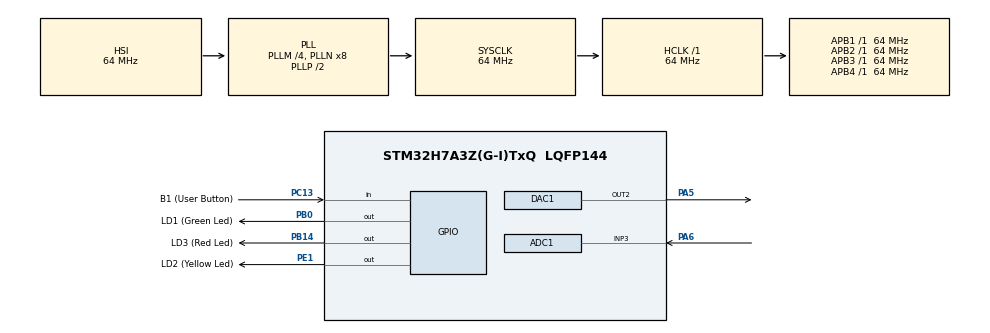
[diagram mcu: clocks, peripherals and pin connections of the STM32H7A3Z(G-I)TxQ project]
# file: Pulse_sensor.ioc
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ADC1.Channel-0\#ChannelRegularConversion=ADC_CHANNEL_3
ADC1.ClockPrescaler=ADC_CLOCK_ASYNC_DIV256
ADC1.ContinuousConvMode=ENABLE
ADC1.ConversionDataManagement=ADC_CONVERSIONDATA_DMA_CIRCULAR
ADC1.NbrOfConversionFlag=1
ADC1.OffsetNumber-0\#ChannelRegularConversion=ADC_OFFSET_NONE
ADC1.OffsetSignedSaturation-0\#ChannelRegularConversion=DISABLE
ADC1.Rank-0\#ChannelRegularConversion=1
ADC1.Resolution=ADC_RESOLUTION_12B
ADC1.SamplingTime-0\#ChannelRegularConversion=ADC_SAMPLETIME_1CYCLE_5
ADC1.master=1
CORTEX_M7.default_mode_Activation=1
DAC1.DAC_Channel-DAC_OUT2=DAC_CHANNEL_2
Dma.ADC1.0.Direction=DMA_PERIPH_TO_MEMORY
Dma.ADC1.0.EventEnable=DISABLE
Dma.ADC1.0.FIFOMode=DMA_FIFOMODE_DISABLE
Dma.ADC1.0.Instance=DMA1_Stream0
Dma.ADC1.0.MemDataAlignment=DMA_MDATAALIGN_HALFWORD
Dma.ADC1.0.MemInc=DMA_MINC_ENABLE
Dma.ADC1.0.Mode=DMA_CIRCULAR
Dma.ADC1.0.PeriphDataAlignment=DMA_PDATAALIGN_HALFWORD
Dma.ADC1.0.PeriphInc=DMA_PINC_DISABLE
Dma.ADC1.0.Polarity=HAL_DMAMUX_REQ_GEN_RISING
Dma.ADC1.0.Priority=DMA_PRIORITY_HIGH
Dma.ADC1.0.RequestNumber=1
Dma.ADC1.0.SignalID=NONE
Dma.ADC1.0.SyncEnable=DISABLE
Dma.ADC1.0.SyncPolarity=HAL_DMAMUX_SYNC_NO_EVENT
Dma.ADC1.0.SyncRequestNumber=1
Dma.ADC1.0.SyncSignalID=NONE
Dma.DAC1_CH2.1.Direction=DMA_MEMORY_TO_PERIPH
Dma.DAC1_CH2.1.EventEnable=DISABLE
Dma.DAC1_CH2.1.FIFOMode=DMA_FIFOMODE_DISABLE
Dma.DAC1_CH2.1.Instance=DMA1_Stream1
Dma.DAC1_CH2.1.MemDataAlignment=DMA_MDATAALIGN_BYTE
Dma.DAC1_CH2.1.MemInc=DMA_MINC_ENABLE
Dma.DAC1_CH2.1.Mode=DMA_CIRCULAR
Dma.DAC1_CH2.1.PeriphDataAlignment=DMA_PDATAALIGN_BYTE
Dma.DAC1_CH2.1.PeriphInc=DMA_PINC_DISABLE
Dma.DAC1_CH2.1.Polarity=HAL_DMAMUX_REQ_GEN_RISING
Dma.DAC1_CH2.1.Priority=DMA_PRIORITY_HIGH
Dma.DAC1_CH2.1.RequestNumber=1
Dma.DAC1_CH2.1.SignalID=NONE
Dma.DAC1_CH2.1.SyncEnable=DISABLE
Dma.DAC1_CH2.1.SyncPolarity=HAL_DMAMUX_SYNC_NO_EVENT
Dma.DAC1_CH2.1.SyncRequestNumber=1
Dma.DAC1_CH2.1.SyncSignalID=NONE
Dma.Request0=ADC1
Dma.Request1=DAC1_CH2
Mcu.Family=STM32H7
Mcu.Name=STM32H7A3Z(G-I)TxQ
Mcu.Package=LQFP144
NVIC.DMA1_Stream0_IRQn=true\:0\:0\:false\:false\:true\:false\:true\:true
NVIC.DMA1_Stream1_IRQn=true\:0\:0\:false\:false\:true\:false\:true\:true
NVIC.PriorityGroup=NVIC_PRIORITYGROUP_4
PA5.Signal=COMP_DAC12_group
PA6.Signal=ADCx_INP3
PB0.GPIO_Label=LD1 (Green Led)
PB0.Signal=GPIO_Output
PB14.GPIO_Label=LD3 (Red Led)
PB14.Signal=GPIO_Output
PC13.GPIO_Label=B1 (User Button)
PC13.Signal=GPIO_Input
PC14-OSC32_IN.GPIO_Label=OSC32_IN
PC14-OSC32_IN.Signal=RCC_OSC32_IN
PC15-OSC32_OUT.GPIO_Label=OSC32_OUT
PC15-OSC32_OUT.Signal=RCC_OSC32_OUT
PD8.GPIO_Label=STLINK_RX
PD8.Signal=USART3_TX
PD9.GPIO_Label=STLINK_TX
PD9.Signal=USART3_RX
PE1.GPIO_Label=LD2 (Yellow Led)
PE1.Signal=GPIO_Output
PH0-OSC_IN.GPIO_Label=PH0-MCU
PH0-OSC_IN.Signal=RCC_OSC_IN
PH1-OSC_OUT.GPIO_Label=PH1-MCU
PH1-OSC_OUT.Signal=RCC_OSC_OUT
ProjectManager.HeapSize=0x200
ProjectManager.StackSize=0x400
ProjectManager.TargetToolchain=STM32CubeIDE
RCC.ADCFreq_Value=42666666.666666664
RCC.APB1Freq_Value=64000000
RCC.APB2Freq_Value=64000000
RCC.APB3Freq_Value=64000000
RCC.APB4Freq_Value=64000000
RCC.CortexFreq_Value=64000000
RCC.DIVM1=4
RCC.DIVM2=4
RCC.DIVM3=1
RCC.DIVN1=8
RCC.DIVN2=8
RCC.DIVN3=24
RCC.DIVP2=3
RCC.DIVQ1=4
RCC.HCLKFreq_Value=64000000
RCC.HSE_VALUE=8000000
RCC.PLL2FRACN=0
RCC.PLLFRACN=0
RCC.PWR_Regulator_Voltage_Scale=PWR_REGULATOR_VOLTAGE_SCALE0
RCC.SYSCLKFreq_VALUE=64000000
RCC.SYSCLKSource=RCC_SYSCLKSOURCE_PLLCLK
RCC.SupplySource=PWR_DIRECT_SMPS_SUPPLY
RCC.USBCLockSelection=RCC_USBCLKSOURCE_HSI48
RCC.USBFreq_Value=48000000
SH.ADCx_INP3.0=ADC1_INP3,IN3-Single-Ended
SH.COMP_DAC12_group.0=DAC1_OUT2,DAC_OUT2
VP_MEMORYMAP_VS_MEMORYMAP.Mode=CurAppReg
board=NUCLEO-H7A3ZI-Q

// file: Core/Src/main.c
/* USER CODE BEGIN Header */
/**
  ******************************************************************************
  * @file           : main.c
  * @brief          : Main program body
  ******************************************************************************
  * @attention
  *
  * Copyright (c) 2026 STMicroelectronics.
  * All rights reserved.
  *
  * This software is licensed under terms that can be found in the LICENSE file
  * in the root directory of this software component.
  * If no LICENSE file comes with this software, it is provided AS-IS.
  *
  ******************************************************************************
  */
/* USER CODE END Header */
#include "main.h"

ADC_HandleTypeDef hadc1;
DMA_HandleTypeDef hdma_adc1;

DAC_HandleTypeDef hdac1;
DMA_HandleTypeDef hdma_dac1_ch2;

/* USER CODE BEGIN PV */
#define RESOLUTION 4095
#define V_REF 5

uint32_t ADC_VALUE;
uint32_t DAC_VALUE;

double pulse;
/* USER CODE END PV */

void SystemClock_Config(void);
static void MPU_Config(void);
static void MX_GPIO_Init(void);
static void MX_DMA_Init(void);
static void MX_ADC1_Init(void);
static void MX_DAC1_Init(void);
/* USER CODE BEGIN PFP */
void pulse_sensor(void);
/* USER CODE END PFP */

int main(void)
{

  /* MPU Configuration--------------------------------------------------------*/
  MPU_Config();

  /* MCU Configuration--------------------------------------------------------*/

  /* Reset of all peripherals, Initializes the Flash interface and the Systick. */
  HAL_Init();

  /* Configure the system clock */
  SystemClock_Config();

  /* Initialize all configured peripherals */
  MX_GPIO_Init();
  MX_DMA_Init();
  MX_ADC1_Init();
  MX_DAC1_Init();
  /* USER CODE BEGIN 2 */
  HAL_DAC_Start(&hdac1,DAC_CHANNEL_2);
  HAL_ADCEx_Calibration_Start(&hadc1, ADC_CALIB_OFFSET_LINEARITY, ADC_SINGLE_ENDED);
  HAL_ADC_Start_DMA(&hadc1,(uint32_t*)&ADC_VALUE,1);
  /* USER CODE END 2 */

  /* Infinite loop */
  while (1)
  {
	  pulse_sensor();
  }
}

void SystemClock_Config(void)
{
  RCC_OscInitTypeDef RCC_OscInitStruct = {0};
  RCC_ClkInitTypeDef RCC_ClkInitStruct = {0};

  /*AXI clock gating */
  RCC->CKGAENR = 0xE003FFFF;

  /** Supply configuration update enable
  */
  HAL_PWREx_ConfigSupply(PWR_DIRECT_SMPS_SUPPLY);

  /** Configure the main internal regulator output voltage
  */
  __HAL_PWR_VOLTAGESCALING_CONFIG(PWR_REGULATOR_VOLTAGE_SCALE0);

  while(!__HAL_PWR_GET_FLAG(PWR_FLAG_VOSRDY)) {}

  /** Initializes the RCC Oscillators according to the specified parameters
  * in the RCC_OscInitTypeDef structure.
  */
  RCC_OscInitStruct.OscillatorType = RCC_OSCILLATORTYPE_HSI|RCC_OSCILLATORTYPE_LSI;
  RCC_OscInitStruct.HSIState = RCC_HSI_DIV1;
  RCC_OscInitStruct.HSICalibrationValue = 64;
  RCC_OscInitStruct.LSIState = RCC_LSI_ON;
  RCC_OscInitStruct.PLL.PLLState = RCC_PLL_ON;
  RCC_OscInitStruct.PLL.PLLSource = RCC_PLLSOURCE_HSI;
  RCC_OscInitStruct.PLL.PLLM = 4;
  RCC_OscInitStruct.PLL.PLLN = 8;
  RCC_OscInitStruct.PLL.PLLP = 2;
  RCC_OscInitStruct.PLL.PLLQ = 4;
  RCC_OscInitStruct.PLL.PLLR = 2;
  RCC_OscInitStruct.PLL.PLLRGE = RCC_PLL1VCIRANGE_3;
  RCC_OscInitStruct.PLL.PLLVCOSEL = RCC_PLL1VCOWIDE;
  RCC_OscInitStruct.PLL.PLLFRACN = 0;
  if (HAL_RCC_OscConfig(&RCC_OscInitStruct) != HAL_OK)
  {
    Error_Handler();
  }

  /** Initializes the CPU, AHB and APB buses clocks
  */
  RCC_ClkInitStruct.ClockType = RCC_CLOCKTYPE_HCLK|RCC_CLOCKTYPE_SYSCLK
                              |RCC_CLOCKTYPE_PCLK1|RCC_CLOCKTYPE_PCLK2
                              |RCC_CLOCKTYPE_D3PCLK1|RCC_CLOCKTYPE_D1PCLK1;
  RCC_ClkInitStruct.SYSCLKSource = RCC_SYSCLKSOURCE_PLLCLK;
  RCC_ClkInitStruct.SYSCLKDivider = RCC_SYSCLK_DIV1;
  RCC_ClkInitStruct.AHBCLKDivider = RCC_HCLK_DIV1;
  RCC_ClkInitStruct.APB3CLKDivider = RCC_APB3_DIV1;
  RCC_ClkInitStruct.APB1CLKDivider = RCC_APB1_DIV1;
  RCC_ClkInitStruct.APB2CLKDivider = RCC_APB2_DIV1;
  RCC_ClkInitStruct.APB4CLKDivider = RCC_APB4_DIV1;

  if (HAL_RCC_ClockConfig(&RCC_ClkInitStruct, FLASH_LATENCY_1) != HAL_OK)
  {
    Error_Handler();
  }
}

static void MX_ADC1_Init(void)
{

  ADC_MultiModeTypeDef multimode = {0};
  ADC_ChannelConfTypeDef sConfig = {0};

  /** Common config
  */
  hadc1.Instance = ADC1;
  hadc1.Init.ClockPrescaler = ADC_CLOCK_ASYNC_DIV256;
  hadc1.Init.Resolution = ADC_RESOLUTION_12B;
  hadc1.Init.ScanConvMode = ADC_SCAN_DISABLE;
  hadc1.Init.EOCSelection = ADC_EOC_SINGLE_CONV;
  hadc1.Init.LowPowerAutoWait = DISABLE;
  hadc1.Init.ContinuousConvMode = ENABLE;
  hadc1.Init.NbrOfConversion = 1;
  hadc1.Init.DiscontinuousConvMode = DISABLE;
  hadc1.Init.ExternalTrigConv = ADC_SOFTWARE_START;
  hadc1.Init.ExternalTrigConvEdge = ADC_EXTERNALTRIGCONVEDGE_NONE;
  hadc1.Init.ConversionDataManagement = ADC_CONVERSIONDATA_DMA_CIRCULAR;
  hadc1.Init.Overrun = ADC_OVR_DATA_PRESERVED;
  hadc1.Init.LeftBitShift = ADC_LEFTBITSHIFT_NONE;
  hadc1.Init.OversamplingMode = DISABLE;
  if (HAL_ADC_Init(&hadc1) != HAL_OK)
  {
    Error_Handler();
  }

  /** Configure the ADC multi-mode
  */
  multimode.Mode = ADC_MODE_INDEPENDENT;
  if (HAL_ADCEx_MultiModeConfigChannel(&hadc1, &multimode) != HAL_OK)
  {
    Error_Handler();
  }

  /** Configure Regular Channel
  */
  sConfig.Channel = ADC_CHANNEL_3;
  sConfig.Rank = ADC_REGULAR_RANK_1;
  sConfig.SamplingTime = ADC_SAMPLETIME_1CYCLE_5;
  sConfig.SingleDiff = ADC_SINGLE_ENDED;
  sConfig.OffsetNumber = ADC_OFFSET_NONE;
  sConfig.Offset = 0;
  sConfig.OffsetSignedSaturation = DISABLE;
  if (HAL_ADC_ConfigChannel(&hadc1, &sConfig) != HAL_OK)
  {
    Error_Handler();
  }

}

static void MX_DAC1_Init(void)
{

  DAC_ChannelConfTypeDef sConfig = {0};

  /** DAC Initialization
  */
  hdac1.Instance = DAC1;
  if (HAL_DAC_Init(&hdac1) != HAL_OK)
  {
    Error_Handler();
  }

  /** DAC channel OUT2 config
  */
  sConfig.DAC_SampleAndHold = DAC_SAMPLEANDHOLD_DISABLE;
  sConfig.DAC_Trigger = DAC_TRIGGER_NONE;
  sConfig.DAC_OutputBuffer = DAC_OUTPUTBUFFER_ENABLE;
  sConfig.DAC_ConnectOnChipPeripheral = DAC_CHIPCONNECT_DISABLE;
  sConfig.DAC_UserTrimming = DAC_TRIMMING_FACTORY;
  if (HAL_DAC_ConfigChannel(&hdac1, &sConfig, DAC_CHANNEL_2) != HAL_OK)
  {
    Error_Handler();
  }

}

static void MX_DMA_Init(void)
{

  /* DMA controller clock enable */
  __HAL_RCC_DMA1_CLK_ENABLE();

  /* DMA interrupt init */
  /* DMA1_Stream0_IRQn interrupt configuration */
  HAL_NVIC_SetPriority(DMA1_Stream0_IRQn, 0, 0);
  HAL_NVIC_EnableIRQ(DMA1_Stream0_IRQn);
  /* DMA1_Stream1_IRQn interrupt configuration */
  HAL_NVIC_SetPriority(DMA1_Stream1_IRQn, 0, 0);
  HAL_NVIC_EnableIRQ(DMA1_Stream1_IRQn);

}

static void MX_GPIO_Init(void)
{
  GPIO_InitTypeDef GPIO_InitStruct = {0};

  /* GPIO Ports Clock Enable */
  __HAL_RCC_GPIOC_CLK_ENABLE();
  __HAL_RCC_GPIOH_CLK_ENABLE();
  __HAL_RCC_GPIOA_CLK_ENABLE();
  __HAL_RCC_GPIOB_CLK_ENABLE();
  __HAL_RCC_GPIOD_CLK_ENABLE();
  __HAL_RCC_GPIOE_CLK_ENABLE();

  /*Configure GPIO pin Output Level */
  HAL_GPIO_WritePin(GPIOB, LD1_Pin|LD3_Pin, GPIO_PIN_RESET);

  /*Configure GPIO pin Output Level */
  HAL_GPIO_WritePin(LD2_GPIO_Port, LD2_Pin, GPIO_PIN_RESET);

  /*Configure GPIO pin : B1_Pin */
  GPIO_InitStruct.Pin = B1_Pin;
  GPIO_InitStruct.Mode = GPIO_MODE_INPUT;
  GPIO_InitStruct.Pull = GPIO_NOPULL;
  HAL_GPIO_Init(B1_GPIO_Port, &GPIO_InitStruct);

  /*Configure GPIO pins : LD1_Pin LD3_Pin */
  GPIO_InitStruct.Pin = LD1_Pin|LD3_Pin;
  GPIO_InitStruct.Mode = GPIO_MODE_OUTPUT_PP;
  GPIO_InitStruct.Pull = GPIO_NOPULL;
  GPIO_InitStruct.Speed = GPIO_SPEED_FREQ_LOW;
  HAL_GPIO_Init(GPIOB, &GPIO_InitStruct);

  /*Configure GPIO pins : STLINK_RX_Pin STLINK_TX_Pin */
  GPIO_InitStruct.Pin = STLINK_RX_Pin|STLINK_TX_Pin;
  GPIO_InitStruct.Mode = GPIO_MODE_AF_PP;
  GPIO_InitStruct.Pull = GPIO_NOPULL;
  GPIO_InitStruct.Speed = GPIO_SPEED_FREQ_LOW;
  GPIO_InitStruct.Alternate = GPIO_AF7_USART3;
  HAL_GPIO_Init(GPIOD, &GPIO_InitStruct);

  /*Configure GPIO pin : LD2_Pin */
  GPIO_InitStruct.Pin = LD2_Pin;
  GPIO_InitStruct.Mode = GPIO_MODE_OUTPUT_PP;
  GPIO_InitStruct.Pull = GPIO_NOPULL;
  GPIO_InitStruct.Speed = GPIO_SPEED_FREQ_LOW;
  HAL_GPIO_Init(LD2_GPIO_Port, &GPIO_InitStruct);

}

/* USER CODE BEGIN 4 */
uint32_t added_values;
double number_of_readings;
uint32_t average;

void pulse_sensor(void)
{

    HAL_DAC_SetValue(&hdac1, DAC_CHANNEL_2, DAC_ALIGN_12B_R, DAC_VALUE);
    DAC_VALUE++;
      if(DAC_VALUE>4095) {
        DAC_VALUE=0;
      }

      added_values += DAC_VALUE;
      	number_of_readings++;

      	if (number_of_readings == 10)
      	{

      	average = added_values / number_of_readings;

      	added_values = 0;
      	number_of_readings = 0;

      	}

      pulse = ((double)ADC_VALUE * V_REF) / RESOLUTION;
    HAL_Delay(50);
}

/* USER CODE END 4 */

 /* MPU Configuration */

void MPU_Config(void)
{
  MPU_Region_InitTypeDef MPU_InitStruct = {0};

  /* Disables the MPU */
  HAL_MPU_Disable();

  /** Initializes and configures the Region and the memory to be protected
  */
  MPU_InitStruct.Enable = MPU_REGION_ENABLE;
  MPU_InitStruct.Number = MPU_REGION_NUMBER0;
  MPU_InitStruct.BaseAddress = 0x0;
  MPU_InitStruct.Size = MPU_REGION_SIZE_4GB;
  MPU_InitStruct.SubRegionDisable = 0x87;
  MPU_InitStruct.TypeExtField = MPU_TEX_LEVEL0;
  MPU_InitStruct.AccessPermission = MPU_REGION_NO_ACCESS;
  MPU_InitStruct.DisableExec = MPU_INSTRUCTION_ACCESS_DISABLE;
  MPU_InitStruct.IsShareable = MPU_ACCESS_SHAREABLE;
  MPU_InitStruct.IsCacheable = MPU_ACCESS_NOT_CACHEABLE;
  MPU_InitStruct.IsBufferable = MPU_ACCESS_NOT_BUFFERABLE;

  HAL_MPU_ConfigRegion(&MPU_InitStruct);
  /* Enables the MPU */
  HAL_MPU_Enable(MPU_PRIVILEGED_DEFAULT);

}

void Error_Handler(void)
{
  __disable_irq();
  while (1)
  {
  }
}
